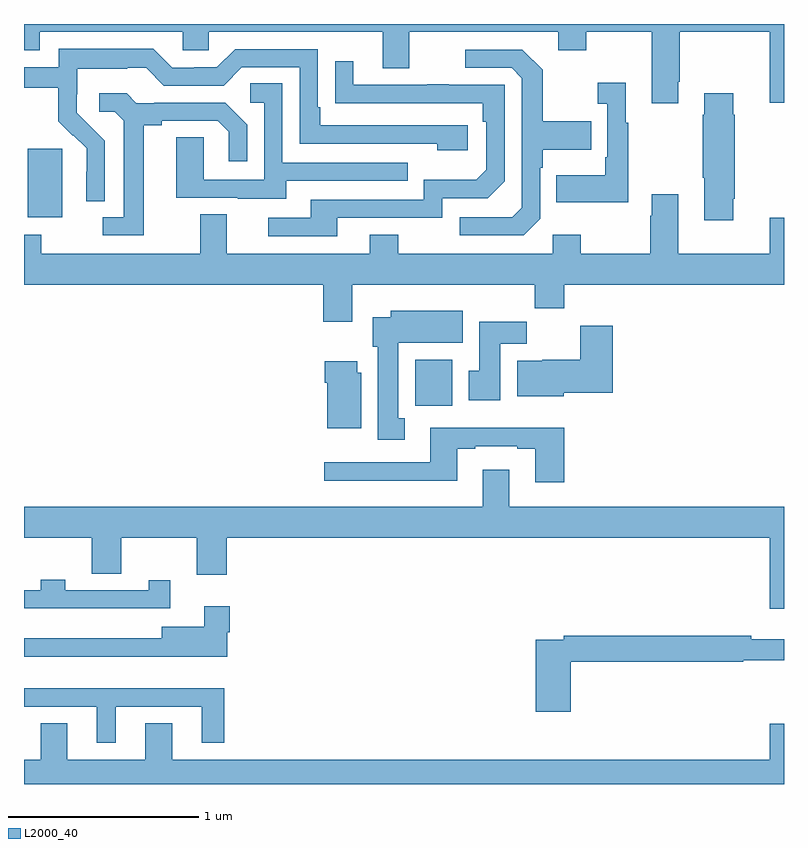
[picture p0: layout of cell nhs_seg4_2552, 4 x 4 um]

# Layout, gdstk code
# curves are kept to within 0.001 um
import gdstk
lib = gdstk.Library(unit=1e-6, precision=1e-09)
def R(c, l, rs):  # rectangles x0, y0, x1, y1
    for r in rs: c.add(gdstk.rectangle(r[:2], r[2:], *l))
def P(c, l, *ps):  # polygons
    for p in ps: c.add(gdstk.Polygon(p, *l))
L2000_40 = (2000, 40)

nhs_seg4_2552 = lib.new_cell('nhs_seg4_2552')
R(nhs_seg4_2552, L2000_40, [(247.058,754.892,247.255,755.134), (245.021,755.882,245.2,756.243)])
P(nhs_seg4_2552, L2000_40, [(248.443,756.595),(248.451,756.595),(248.451,756.86),(248.924,756.86),(248.924,756.486),(249,756.486),(249,756.9),(245,756.9),(245,756.761),(245.083,756.761),(245.083,756.86),(245.835,756.86),(245.835,756.762),(245.973,756.762),(245.973,756.86),(246.887,756.86),(246.887,756.666),(247.027,756.666),(247.027,756.86),(247.811,756.86),(247.811,756.761),(247.959,756.761),(247.959,756.86),(248.303,756.86),(248.303,756.483),(248.443,756.483)],
  [(245.424,756.286),(245.278,756.434),(245.278,756.531),(245.28,756.531),(245.28,756.665),(245.543,756.665),(245.543,756.669),(245.643,756.669),(245.736,756.576),(246.051,756.576),(246.147,756.672),(246.45,756.672),(246.45,756.27),(247.175,756.27),(247.175,756.236),(247.336,756.236),(247.336,756.366),(246.559,756.366),(246.559,756.463),(246.546,756.463),(246.546,756.768),(246.111,756.768),(246.015,756.672),(245.897,756.672),(245.897,756.669),(245.781,756.669),(245.681,756.769),(245.184,756.769),(245.184,756.672),(245,756.672),(245,756.564),(245.179,756.564),(245.179,756.389),(245.256,756.312),(245.259,756.315),(245.33,756.245),(245.33,756.122),(245.328,756.122),(245.328,755.968),(245.424,755.968)],
  [(247.716,755.874),(247.716,756.143),(247.729,756.143),(247.729,756.239),(247.985,756.239),(247.985,756.387),(247.729,756.387),(247.729,756.659),(247.623,756.765),(247.323,756.765),(247.323,756.669),(247.566,756.669),(247.62,756.615),(247.62,755.934),(247.569,755.883),(247.293,755.883),(247.293,755.787),(247.629,755.787)],
  [(246.649,755.88),(247.2,755.88),(247.2,755.982),(247.44,755.982),(247.53,756.072),(247.53,756.579),(247.235,756.579),(247.235,756.584),(247.123,756.584),(247.123,756.579),(246.733,756.579),(246.733,756.703),(246.637,756.703),(246.637,756.484),(247.414,756.483),(247.414,756.386),(247.434,756.386),(247.434,756.132),(247.381,756.079),(247.104,756.079),(247.104,755.976),(246.509,755.976),(246.509,755.88),(246.285,755.88),(246.285,755.784),(246.649,755.784)],
  [(248.179,756.379),(248.167,756.379),(248.167,756.592),(248.019,756.592),(248.019,756.479),(248.07,756.479),(248.07,756.199),(248.058,756.199),(248.058,756.103),(247.801,756.103),(247.801,755.963),(248.179,755.963)],
  [(246.379,756.075),(247.019,756.075),(247.019,756.171),(246.36,756.171),(246.36,756.587),(246.192,756.587),(246.192,756.486),(246.264,756.486),(246.264,756.081),(245.946,756.081),(245.946,756.305),(245.801,756.305),(245.801,755.985),(246.125,755.985),(246.125,755.981),(246.379,755.981)],
  [(248.734,755.98),(248.742,755.98),(248.742,756.422),(248.734,756.422),(248.734,756.535),(248.579,756.535),(248.579,756.422),(248.572,756.422),(248.572,756.091),(248.579,756.091),(248.579,755.868),(248.734,755.868)],
  [(245.629,756.368),(245.725,756.368),(245.725,756.39),(246.02,756.39),(246.077,756.333),(246.077,756.177),(246.174,756.177),(246.174,756.37),(246.058,756.486),(245.686,756.486),(245.686,756.483),(245.592,756.483),(245.54,756.535),(245.397,756.535),(245.397,756.438),(245.478,756.438),(245.525,756.391),(245.525,755.883),(245.415,755.883),(245.415,755.787),(245.629,755.787)],
  [(246.727,755.528),(247.687,755.528),(247.687,755.404),(247.844,755.404),(247.844,755.528),(249,755.528),(249,755.881),(248.924,755.881),(248.924,755.692),(248.443,755.692),(248.443,756.004),(248.303,756.004),(248.303,755.891),(248.296,755.891),(248.296,755.692),(247.929,755.692),(247.929,755.791),(247.782,755.791),(247.782,755.692),(246.969,755.692),(246.969,755.791),(246.821,755.791),(246.821,755.692),(246.067,755.692),(246.067,755.9),(245.927,755.9),(245.927,755.692),(245.091,755.692),(245.091,755.791),(245,755.791),(245,755.528),(246.575,755.528),(246.575,755.334),(246.727,755.334)],
  [(247.003,754.826),(246.97,754.826),(246.97,755.222),(247.309,755.222),(247.309,755.392),(246.929,755.392),(246.929,755.356),(246.836,755.356),(246.836,755.202),(246.863,755.202),(246.863,754.713),(247.003,754.713)],
  [(247.507,755.216),(247.646,755.216),(247.646,755.334),(247.397,755.334),(247.397,755.076),(247.34,755.076),(247.34,754.92),(247.507,754.92)],
  [(247.842,754.958),(248.099,754.958),(248.099,755.311),(247.928,755.311),(247.928,755.134),(247.728,755.134),(247.728,755.128),(247.595,755.128),(247.595,754.94),(247.842,754.94)],
  [(246.775,755.064),(246.754,755.064),(246.754,755.125),(246.584,755.125),(246.584,755.012),(246.596,755.012),(246.596,754.772),(246.775,754.772)],
  [(247.844,754.774),(247.139,754.774),(247.139,754.593),(246.579,754.593),(246.579,754.496),(247.279,754.496),(247.279,754.665),(247.375,754.665),(247.375,754.677),(247.595,754.677),(247.595,754.665),(247.691,754.665),(247.691,754.488),(247.844,754.488)],
  [(249,754.36),(247.555,754.36),(247.555,754.555),(247.415,754.555),(247.415,754.36),(245,754.36),(245,754.196),(245.356,754.196),(245.356,754.006),(245.511,754.006),(245.511,754.196),(245.908,754.196),(245.908,754.002),(246.068,754.002),(246.068,754.196),(248.924,754.196),(248.924,753.822),(249,753.822)],
  [(245.77,753.973),(245.657,753.973),(245.657,753.921),(245.218,753.921),(245.218,753.976),(245.089,753.976),(245.089,753.921),(245,753.921),(245,753.824),(245.77,753.824)],
  [(246.07,753.698),(246.083,753.698),(246.083,753.835),(245.948,753.835),(245.948,753.727),(245.726,753.727),(245.726,753.667),(245,753.667),(245,753.569),(246.07,753.569)],
  [(247.877,753.544),(248.785,753.544),(248.785,753.552),(249,753.552),(249,753.661),(248.828,753.661),(248.828,753.68),(247.84,753.68),(247.84,753.66),(247.694,753.66),(247.694,753.279),(247.877,753.279)],
  [(245.482,753.306),(245.936,753.306),(245.936,753.117),(246.053,753.117),(246.053,753.403),(245,753.403),(245,753.306),(245.384,753.306),(245.384,753.117),(245.482,753.117)],
  [(249,753.217),(248.924,753.217),(248.924,753.028),(245.779,753.028),(245.779,753.221),(245.639,753.221),(245.639,753.028),(245.227,753.028),(245.227,753.221),(245.087,753.221),(245.087,753.028),(245,753.028),(245,752.9),(249,752.9)])

lib.write_gds('nhs_seg4_2552.gds')
